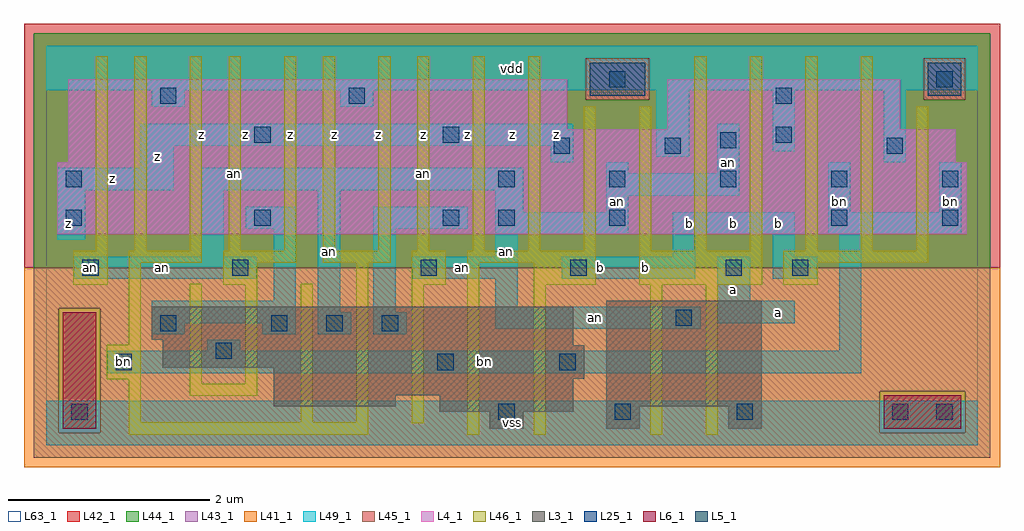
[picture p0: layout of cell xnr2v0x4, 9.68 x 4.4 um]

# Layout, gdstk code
import gdstk
lib = gdstk.Library(unit=1e-6, precision=1e-09)
def R(c, l, rs):  # rectangles x0, y0, x1, y1
    for r in rs: c.add(gdstk.rectangle(r[:2], r[2:], *l))
def A(c, l, x, y, w, h, nx, ny, dx, dy):  # array of equal rectangles
    R(c, l, [(x+i*dx, y+j*dy, x+i*dx+w, y+j*dy+h) for i in range(nx) for j in range(ny)])
L3_1 = (3, 1)
L4_1 = (4, 1)
L5_1 = (5, 1)
L6_1 = (6, 1)
L25_1 = (25, 1)
L41_1 = (41, 1)
L42_1 = (42, 1)
L43_1 = (43, 1)
L44_1 = (44, 1)
L45_1 = (45, 1)
L46_1 = (46, 1)
L49_1 = (49, 1)
L63_1 = (63, 1)

xnr2v0x4 = lib.new_cell('xnr2v0x4')
R(xnr2v0x4, L3_1, [(4.4,0.165,4.73,0.33), (5.555,0.165,5.885,0.385), (6.765,0.165,7.095,0.385), (3.905,0.33,5.225,0.495), (2.255,0.385,3.465,0.495), (5.555,0.385,7.095,1.43), (2.255,0.495,5.225,0.66), (2.255,0.66,5.335,0.77), (1.155,0.77,5.335,0.99), (1.155,0.99,5.225,1.045), (1.045,1.045,5.225,1.375)])
R(xnr2v0x4, L4_1, [(0.11,2.09,9.13,2.805), (0.22,2.805,9.02,3.135), (0.22,3.135,5.17,3.63), (6.16,3.135,8.47,3.63)])
R(xnr2v0x4, L5_1, [(5.39,3.465,5.94,3.795), (8.745,3.465,9.075,3.795)])
R(xnr2v0x4, L6_1, [(0.165,0.165,0.495,1.32), (8.305,0.165,9.075,0.495)])
A(xnr2v0x4, L25_1, 2.23, 1.13, 0.16, 0.16, 3, 1, 0.55, 0)
A(xnr2v0x4, L25_1, 0.195, 2.175, 0.16, 0.16, 3, 1, 1.87, 0)
A(xnr2v0x4, L25_1, 4.485, 2.56, 0.16, 0.16, 5, 1, 1.1, 0)
R(xnr2v0x4, L25_1, [(0.25,0.25,0.41,0.41), (4.485,0.25,4.645,0.41), (5.64,0.25,5.8,0.41), (6.85,0.25,7.01,0.41), (8.39,0.25,8.55,0.41), (8.83,0.25,8.99,0.41), (0.69,0.745,0.85,0.905), (3.88,0.745,4.04,0.905), (5.09,0.745,5.25,0.905), (1.68,0.855,1.84,1.015), (1.13,1.13,1.29,1.29), (6.245,1.185,6.405,1.345), (0.36,1.68,0.52,1.84), (1.845,1.68,2.005,1.84), (3.715,1.68,3.875,1.84), (5.2,1.68,5.36,1.84), (6.74,1.68,6.9,1.84), (7.4,1.68,7.56,1.84), (4.485,2.175,4.645,2.335), (5.585,2.175,5.745,2.335), (7.785,2.175,7.945,2.335), (8.885,2.175,9.045,2.335), (0.195,2.56,0.355,2.72), (5.035,2.89,5.195,3.05), (6.135,2.89,6.295,3.05), (8.335,2.89,8.495,3.05), (6.685,2.945,6.845,3.105), (2.065,3,2.225,3.16), (3.935,3,4.095,3.16), (7.235,3,7.395,3.16), (1.13,3.385,1.29,3.545), (3,3.385,3.16,3.545), (7.235,3.385,7.395,3.545), (5.585,3.55,5.745,3.71), (8.83,3.55,8.99,3.71)])
R(xnr2v0x4, L41_1, [(-0.22,-0.22,9.46,1.76)])
R(xnr2v0x4, L42_1, [(-0.22,1.76,9.46,4.18)])
R(xnr2v0x4, L43_1, [(0.165,0.165,0.495,1.32), (4.4,0.165,4.73,0.33), (5.555,0.165,5.885,0.385), (6.765,0.165,7.095,0.385), (8.305,0.165,9.075,0.495), (3.905,0.33,5.225,0.495), (2.255,0.385,3.465,0.495), (5.555,0.385,7.095,1.43), (2.255,0.495,5.225,0.66), (2.255,0.66,5.335,0.77), (1.155,0.77,5.335,0.99), (1.155,0.99,5.225,1.045), (1.045,1.045,5.225,1.375), (0.11,2.09,9.13,2.805), (0.22,2.805,9.02,3.135), (0.22,3.135,5.17,3.63), (6.16,3.135,8.47,3.63), (5.39,3.465,5.94,3.795), (8.745,3.465,9.075,3.795)])
R(xnr2v0x4, L44_1, [(0.125,0.125,0.535,1.36), (8.265,0.125,9.115,0.535), (-0.125,1.76,9.365,3.425), (-0.125,3.425,5.35,3.835), (5.98,3.425,8.705,3.835), (9.115,3.425,9.365,3.835), (-0.125,3.835,9.365,4.085)])
R(xnr2v0x4, L45_1, [(-0.125,-0.125,9.365,0.125), (-0.125,0.125,0.125,1.36), (0.535,0.125,8.265,0.535), (9.115,0.125,9.365,0.535), (0.535,0.535,9.365,1.36), (-0.125,1.36,9.365,1.76), (5.35,3.425,5.98,3.835), (8.705,3.425,9.115,3.835)])
A(xnr2v0x4, L46_1, 3.68, 1.93, 0.12, 1.925, 3, 1, 0.55, 0)
A(xnr2v0x4, L46_1, 6.43, 1.93, 0.12, 1.925, 4, 1, 0.55, 0)
R(xnr2v0x4, L46_1, [(0.82,0.105,3.195,0.225), (4.175,0.105,4.295,1.81), (4.835,0.105,4.955,1.59), (5.99,0.105,6.11,1.59), (6.54,0.105,6.66,1.59), (3.625,0.215,3.745,1.59), (0.82,0.225,0.94,0.655), (2.525,0.225,2.645,1.6), (3.075,0.225,3.195,1.81), (1.425,0.49,2.095,0.61), (1.425,0.61,1.545,1.6), (1.975,0.61,2.095,1.59), (0.6,0.655,0.94,0.995), (0.82,0.995,0.94,1.81), (0.27,1.59,0.61,1.93), (1.755,1.59,2.095,1.81), (3.625,1.59,3.965,1.93), (4.835,1.59,5.45,1.81), (5.88,1.59,7.1,1.93), (7.31,1.59,7.65,1.81), (0.82,1.81,1.545,1.93), (1.755,1.81,2.48,1.93), (2.745,1.81,3.415,1.93), (4.175,1.81,5.45,1.93), (7.31,1.81,8.75,1.93), (0.49,1.93,0.61,3.855), (0.875,1.93,0.995,3.855), (1.425,1.93,1.545,3.855), (1.81,1.93,1.93,3.855), (2.36,1.93,2.48,3.855), (2.745,1.93,2.865,3.855), (3.295,1.93,3.415,3.855), (5.33,1.93,5.45,3.36), (5.88,1.93,6,3.36), (8.63,1.93,8.75,3.36)])
R(xnr2v0x4, L49_1, [(0,0,9.24,0.44), (0.605,0.715,8.085,0.935), (1.595,0.935,1.925,1.045), (7.865,0.935,8.085,2.09), (1.045,1.1,1.375,1.21), (2.145,1.1,2.475,1.21), (2.695,1.1,3.025,1.32), (3.245,1.1,3.575,1.32), (4.455,1.155,6.49,1.375), (1.045,1.21,2.475,1.43), (6.655,1.21,7.425,1.43), (2.695,1.32,2.915,2.53), (3.245,1.32,3.465,2.145), (4.455,1.375,4.675,1.65), (2.255,1.43,2.475,2.145), (6.655,1.43,6.985,1.87), (0.275,1.65,2.09,1.87), (3.63,1.65,4.675,1.87), (5.115,1.65,6.435,1.87), (7.205,1.65,7.645,1.87), (1.54,1.87,1.76,2.53), (4.455,1.87,4.675,2.09), (6.215,1.87,6.435,2.09), (7.205,1.87,7.425,2.09), (0.11,2.035,0.385,2.53), (4.455,2.09,5.775,2.31), (6.215,2.09,7.425,2.31), (7.755,2.09,9.075,2.31), (1.98,2.145,2.475,2.365), (3.245,2.145,4.18,2.365), (4.455,2.31,4.73,2.53), (5.555,2.31,5.775,2.475), (7.755,2.31,7.975,2.805), (8.855,2.31,9.075,2.805), (5.555,2.475,6.875,2.695), (0.11,2.53,1.265,2.75), (1.54,2.53,4.73,2.75), (5.555,2.695,5.775,2.805), (6.655,2.695,6.875,3.19), (0.935,2.75,1.265,2.97), (5.005,2.805,5.225,2.97), (8.305,2.805,8.525,3.52), (6.05,2.86,6.38,3.52), (7.205,2.915,7.425,3.52), (0.935,2.97,5.225,3.19), (1.045,3.355,1.375,3.52), (2.915,3.355,3.245,3.52), (0,3.52,9.24,3.96)])
R(xnr2v0x4, L63_1, [(0,0,9.24,3.96)])
xnr2v0x4.add(gdstk.Label('bn', (0.77,0.825), layer=49, texttype=1))
xnr2v0x4.add(gdstk.Label('an', (0.44,1.76), layer=49, texttype=1))
xnr2v0x4.add(gdstk.Label('an', (1.87,2.695), layer=46, texttype=1))
xnr2v0x4.add(gdstk.Label('an', (3.74,2.695), layer=46, texttype=1))
xnr2v0x4.add(gdstk.Label('z', (0.22,2.2), layer=49, texttype=1))
xnr2v0x4.add(gdstk.Label('z', (1.1,2.86), layer=49, texttype=1))
xnr2v0x4.add(gdstk.Label('z', (0.66,2.64), layer=49, texttype=1))
xnr2v0x4.add(gdstk.Label('z', (1.54,3.08), layer=49, texttype=1))
xnr2v0x4.add(gdstk.Label('an', (1.155,1.76), layer=49, texttype=1))
xnr2v0x4.add(gdstk.Label('an', (2.805,1.925), layer=49, texttype=1))
xnr2v0x4.add(gdstk.Label('z', (3.3,3.08), layer=49, texttype=1))
xnr2v0x4.add(gdstk.Label('z', (2.86,3.08), layer=49, texttype=1))
xnr2v0x4.add(gdstk.Label('z', (2.42,3.08), layer=49, texttype=1))
xnr2v0x4.add(gdstk.Label('z', (1.98,3.08), layer=49, texttype=1))
xnr2v0x4.add(gdstk.Label('vss', (4.62,0.22), layer=49, texttype=1))
xnr2v0x4.add(gdstk.Label('an', (4.125,1.76), layer=49, texttype=1))
xnr2v0x4.add(gdstk.Label('an', (4.565,1.925), layer=49, texttype=1))
xnr2v0x4.add(gdstk.Label('z', (5.06,3.08), layer=49, texttype=1))
xnr2v0x4.add(gdstk.Label('z', (4.62,3.08), layer=49, texttype=1))
xnr2v0x4.add(gdstk.Label('z', (4.18,3.08), layer=49, texttype=1))
xnr2v0x4.add(gdstk.Label('z', (3.74,3.08), layer=49, texttype=1))
xnr2v0x4.add(gdstk.Label('vdd', (4.62,3.74), layer=49, texttype=1))
xnr2v0x4.add(gdstk.Label('an', (5.445,1.265), layer=49, texttype=1))
xnr2v0x4.add(gdstk.Label('a', (7.26,1.32), layer=49, texttype=1))
xnr2v0x4.add(gdstk.Label('a', (6.82,1.54), layer=49, texttype=1))
xnr2v0x4.add(gdstk.Label('b', (5.94,1.76), layer=49, texttype=1))
xnr2v0x4.add(gdstk.Label('b', (5.5,1.76), layer=49, texttype=1))
xnr2v0x4.add(gdstk.Label('b', (7.26,2.2), layer=49, texttype=1))
xnr2v0x4.add(gdstk.Label('b', (6.82,2.2), layer=49, texttype=1))
xnr2v0x4.add(gdstk.Label('b', (6.38,2.2), layer=49, texttype=1))
xnr2v0x4.add(gdstk.Label('an', (5.665,2.42), layer=49, texttype=1))
xnr2v0x4.add(gdstk.Label('an', (6.765,2.805), layer=49, texttype=1))
xnr2v0x4.add(gdstk.Label('bn', (4.345,0.825), layer=49, texttype=1))
xnr2v0x4.add(gdstk.Label('bn', (8.965,2.42), layer=49, texttype=1))
xnr2v0x4.add(gdstk.Label('bn', (7.865,2.42), layer=49, texttype=1))

lib.write_gds('xnr2v0x4.gds')
